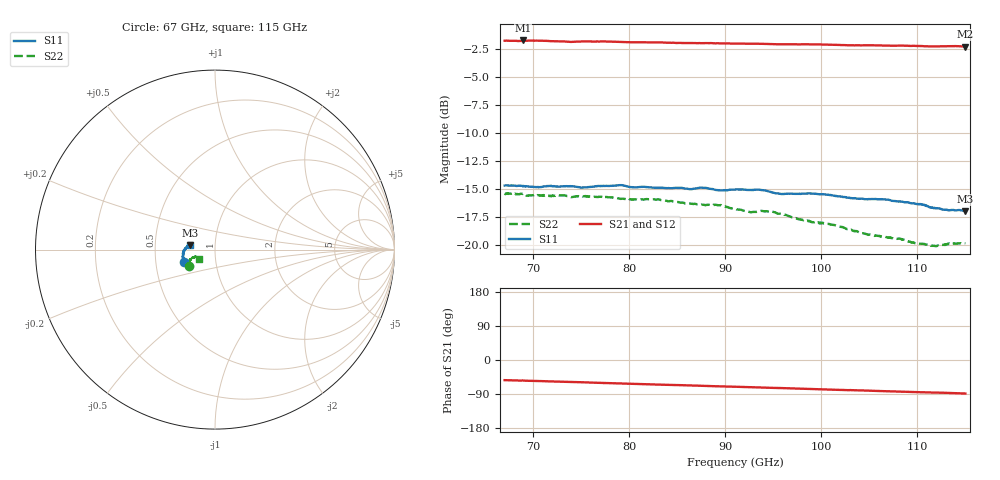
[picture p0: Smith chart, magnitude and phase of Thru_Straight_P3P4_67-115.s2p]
!Keysight Technologies,N5247B,MY61256062,A.16.20.04
!Date: Friday, November 28, 2025 05:30:14
!Correction: S11(C  2-Port  )
!S21(C  2-Port  )
!S12(C  2-Port  )
!S22(C  2-Port  )
!S2P File: Measurements: S11, S21, S12, S22:
# Hz S  RI  R 50
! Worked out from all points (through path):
!   1001 points, 67 GHz to 115 GHz, reference 50 ohm
!   highest |S21| = -1.69 dB at 68.92 GHz (marker M1); lowest = -2.2 dB at 115 GHz (marker M2)
!   group delay of S21, straight-line fit = 2.05 ps
!   lowest |S11| = -17.0 dB at 115 GHz (marker M3), VSWR 1.33, Z = 37.7 + j1.76 ohm
!   |S11| at or under -10 dB: start of sweep to end of sweep
!   |S22| runs from -20.1 to -15.4 dB; largest |S21 - S12| = 0.011
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6.7e10  -0.1718 -0.068  0.4919 -0.6571  0.4915 -0.658  -0.1451 -0.0886
6.892e10  -0.1728 -0.0609  0.4856 -0.6643  0.4832 -0.6653  -0.1438 -0.0902
7.1368e10  -0.1732 -0.0606  0.4567 -0.6802  0.4511 -0.683  -0.1447 -0.0828
7.5016e10  -0.1742 -0.0488  0.4227 -0.6958  0.4195 -0.6965  -0.1461 -0.0781
7.9096e10  -0.1809 -0.0418  0.3809 -0.7152  0.375 -0.7149  -0.1442 -0.0716
8.0392e10  -0.1777 -0.0373  0.37 -0.718  0.3654 -0.718  -0.1432 -0.0708
8.3032e10  -0.1778 -0.0313  0.3428 -0.73  0.3376 -0.7301  -0.1456 -0.0672
8.6344e10  -0.1763 -0.0242  0.3117 -0.7377  0.3071 -0.7388  -0.1405 -0.0619
8.764e10  -0.1792 -0.022  0.2991 -0.7421  0.2944 -0.7433  -0.1389 -0.0608
8.9368e10  -0.1752 -0.018  0.2801 -0.7478  0.2764 -0.7467  -0.1392 -0.0581
9.1e10  -0.1765 -0.017  0.2657 -0.7519  0.2594 -0.7525  -0.1357 -0.0528
9.2632e10  -0.176 -0.0119  0.2492 -0.7558  0.2434 -0.7539  -0.1302 -0.0525
9.3592e10  -0.1767 -0.00836  0.2383 -0.7582  0.2333 -0.7592  -0.1313 -0.0538
9.4984e10  -0.1715 -0.00322  0.2234 -0.7594  0.2179 -0.7594  -0.1317 -0.0499
9.9016e10  -0.1702 -0.000791  0.1829 -0.7686  0.1802 -0.7676  -0.1187 -0.0447
1.01368e11  -0.1664 0.00531  0.1565 -0.7711  0.1518 -0.7712  -0.1156 -0.0423
1.0468e11  -0.1603 0.00859  0.1268 -0.7727  0.1192 -0.7722  -0.1043 -0.041
1.07032e11  -0.1588 0.014  0.0996 -0.7741  0.0963 -0.7728  -0.0983 -0.0446
1.1044e11  -0.1511 0.0206  0.0661 -0.7747  0.0583 -0.7731  -0.0902 -0.0465
1.11688e11  -0.1446 0.0218  0.0563 -0.7717  0.0481 -0.772  -0.0874 -0.0471
1.14952e11  -0.14 0.0229  0.0214 -0.7727  0.0139 -0.7721  -0.0886 -0.0508
1.15e11  -0.1404 0.023  0.0211 -0.7727  0.0137 -0.7722  -0.0883 -0.051
